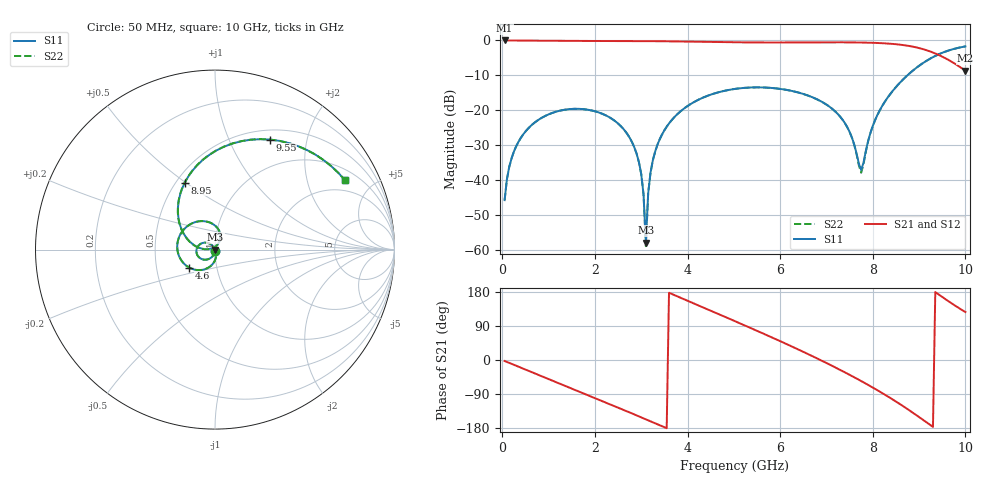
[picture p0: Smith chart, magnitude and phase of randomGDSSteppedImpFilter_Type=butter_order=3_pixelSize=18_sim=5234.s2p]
! freq	dB(S11)	phase(S11)	dB(S12)	phase(S12)
!  dB(S21)	phase(S21)	dB(S22)	phase(S22)
!S-par simulation data
#  GHz  S  DB  R 50
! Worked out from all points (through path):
!   200 points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, 50 MHz to 10 GHz, reference 50 ohm
!   highest |S21| = 0.00 dB at 50 MHz (marker M1); lowest = -8.7 dB at 10 GHz (marker M2)
!   group delay of S21, straight-line fit = 159 ps
!   lowest |S11| = -58.0 dB at 3.1 GHz (marker M3), VSWR 1.00, Z = 50.1 + j0.05 ohm
!   |S11| at or under -10 dB: start of sweep to 8.748 GHz
!   |S22| runs from -59.0 to -1.7 dB; largest |S21 - S12| = 0
!   S11 on the Smith chart (normalised r, x): 50 MHz: 1.00, -0.01; 4.6 GHz: 0.74, -0.15; 8.95 GHz: 0.55, +0.50; 9.55 GHz: 0.62, +1.43; 10 GHz: 1.45, +3.43
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0.05  -45.83 -91.8  -0.00 -2.6  -0.00 -2.6  -45.83 -91.8
0.2  -33.83 -99.9  -0.02 -10.2  -0.02 -10.2  -33.83 -99.9
0.5  -26.14 -115.3  -0.04 -25.2  -0.04 -25.2  -26.14 -115.3
1.75  -19.71 -179.0  -0.15 -87.8  -0.15 -87.8  -19.71 -178.9
2.8  -29.15 126.5  -0.17 -141.0  -0.17 -141.0  -29.15 126.7
3  -38.33 112.5  -0.18 -151.3  -0.18 -151.3  -38.34 113.1
3.05  -44.20 104.1  -0.19 -153.9  -0.19 -153.9  -44.23 105.4
3.1  -57.99 23.3  -0.19 -156.5  -0.19 -156.5  -59.04 23.7
3.15  -43.91 -58.9  -0.19 -159.1  -0.19 -159.1  -43.95 -60.3
3.2  -37.99 -66.9  -0.20 -161.7  -0.20 -161.7  -38.00 -67.6
3.4  -28.34 -80.9  -0.22 -172.1  -0.22 -172.1  -28.34 -81.2
4.6  -15.13 -145.1  -0.45 124.9  -0.45 124.9  -15.13 -145.2
5.05  -13.86 -168.8  -0.53 101.1  -0.53 101.1  -13.86 -168.9
5.85  -13.67 148.1  -0.59 58.0  -0.59 58.0  -13.67 148.0
6.7  -16.32 100.5  -0.55 9.9  -0.55 9.9  -16.32 100.2
7.4  -23.77 63.7  -0.54 -32.7  -0.54 -32.7  -23.78 62.7
7.75  -37.18 119.9  -0.59 -55.5  -0.59 -55.5  -37.96 119.6
8  -24.52 177.0  -0.68 -72.6  -0.68 -72.6  -24.58 178.2
8.35  -15.86 159.7  -0.91 -98.0  -0.91 -98.0  -15.87 160.2
8.95  -7.76 114.3  -2.03 -146.3  -2.03 -146.3  -7.77 114.5
9.55  -3.29 63.6  -4.98 162.1  -4.98 162.1  -3.29 63.7
10  -1.71 28.1  -8.70 126.6  -8.70 126.6  -1.72 28.2
